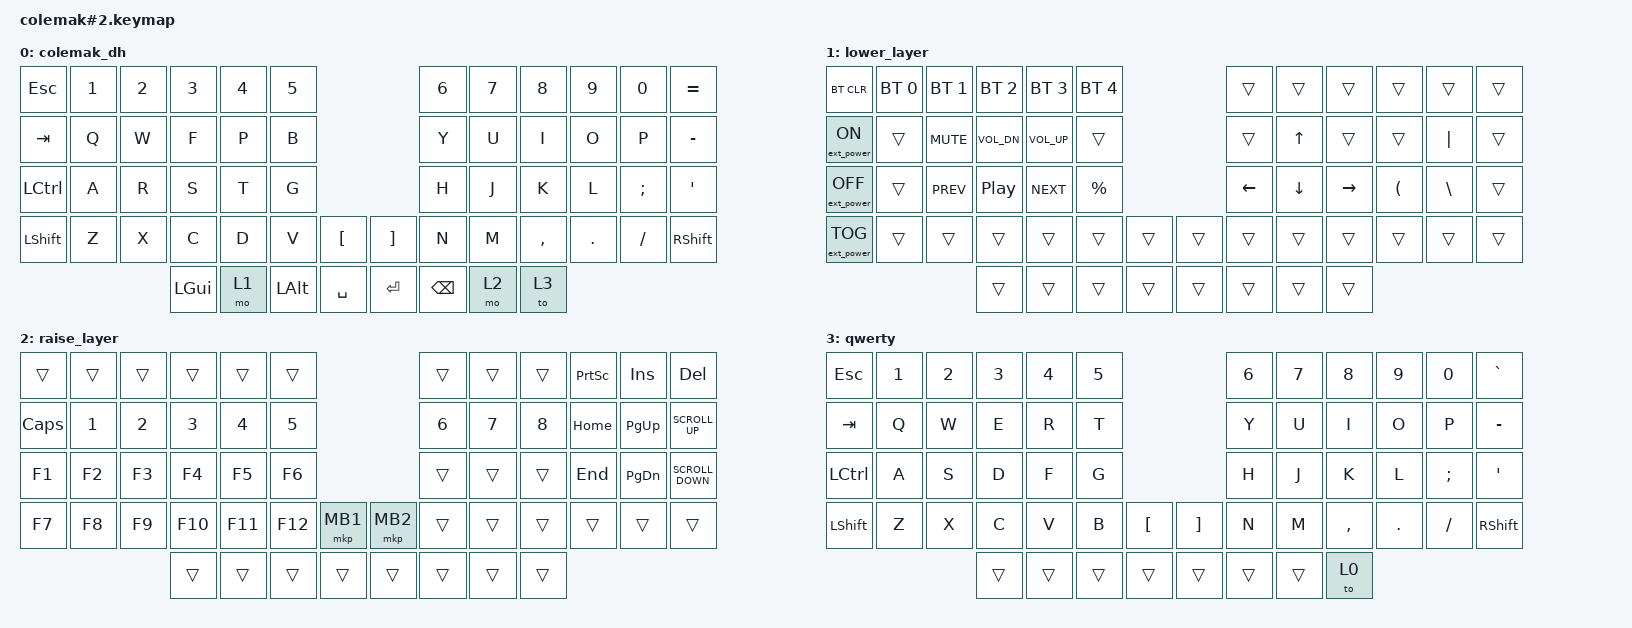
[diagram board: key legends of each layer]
/*
 * Copyright (c) 2020 The ZMK Contributors
 *
 * SPDX-License-Identifier: MIT
 */

#include <behaviors.dtsi>
#include <dt-bindings/zmk/keys.h>
#include <dt-bindings/zmk/bt.h>
#include <dt-bindings/zmk/ext_power.h>
#include <dt-bindings/zmk/mouse.h>
// Home row mods macros
#define COLEMAK_DH  0
#define LOWER       1
#define RAISE       2
#define QWERTY      3

/ {
    keymap {
        compatible = "zmk,keymap";

        colemak_dh {
// COLEMAK-DH LAYOUT
// ------------------------------------------------------------------------------------------------------------
// |  ESC  |  1  |  2  |  3   |  4   |  5   |                   |  6   |  7    |  8    |  9   |   0   |   =   |
// |  TAB  |  Q  |  W  |  F   |  P   |  B   |                   |  J   |  L    |  U    |  Y   |   ;   |   -   |
// |  CTRL |  A  |  R  |  S   |  T   |  G   |                   |  M   |  N    |  E    |  I   |   O   |   '   |
// | SHIFT |  Z  |  X  |  C   |  D   |  V   |   "["  |  |  "]"  |  K   |  H    |  ,    |  .   |   /   | SHIFT |
//                     | GUI  |LW_LAY| ALT  |  SPACE |  | ENTER | BSPC |RS_LAY |QWERTY |
            bindings = <
&kp ESC   &kp N1 &kp N2 &kp N3   &kp N4 &kp N5                       &kp N6   &kp N7    &kp N8    &kp N9  &kp N0   &kp EQUAL
&kp TAB   &kp Q  &kp W  &kp F    &kp P  &kp B                        &kp Y    &kp U     &kp I     &kp O   &kp P    &kp MINUS
&kp LCTRL &kp A  &kp R  &kp S    &kp T  &kp G                        &kp H    &kp J     &kp K     &kp L   &kp SEMI &kp SQT
&kp LSHFT &kp Z  &kp X  &kp C    &kp D  &kp V    &kp LBKT   &kp RBKT &kp N    &kp M     &kp COMMA &kp DOT &kp FSLH &kp RSHFT
                        &kp LGUI &mo 1  &kp LALT &kp SPACE  &kp RET  &kp BSPC &mo 2     &to 3
            >;

            // sensor-bindings = <&inc_dec_kp C_VOL_UP C_VOL_DN>;
        };

        lower_layer {
// ------------------------------------------------------------------------------------------------------------
// | BTCLR | BT1 | BT2 |  BT3 |  BT4 |  BT5 |                   |      |       |       |      |       |       |
// | EP_ON |     | MUTE| VOL- | VOL+ |      |                   |      |  UP   |       |      |  "|"  |       |
// |EP_OFF |     | PRV |PLY/PS| NEXT |      |                   | LEFT | DOWN  | RIGHT |      |   \   |       |
// |EP_TOG |     |     |      |      |      |        |  |       |      |       |       |      |       |       |
//                     |      |      |      |        |  |       |      |       |       |
            bindings = <
&bt BT_CLR          &bt BT_SEL 0 &bt BT_SEL 1   &bt BT_SEL 2    &bt BT_SEL 3 &bt BT_SEL 4                 &trans    &trans    &trans    &trans    &trans    &trans
&ext_power EP_ON    &trans       &kp C_MUTE     &kp C_VOL_DN    &kp C_VOL_UP &trans                       &trans    &kp UP    &trans    &trans    &kp PIPE  &trans
&ext_power EP_OFF   &trans       &kp C_PREV     &kp C_PP        &kp C_NEXT   &kp PRCNT                    &kp LEFT  &kp DOWN  &kp RIGHT &kp LPAR  &kp BSLH  &trans
&ext_power EP_TOG   &trans       &trans         &trans          &trans       &trans    &trans   &trans    &trans    &trans    &trans    &trans    &trans    &trans
                                                &trans          &trans       &trans    &trans   &trans    &trans    &trans    &trans
            >;

            // sensor-bindings = <&inc_dec_kp C_VOL_UP C_VOL_DN>;
        };

        raise_layer {
// ------------------------------------------------------------------------------------------------------------
// |       |     |     |      |      |      |                   |      |       |       |PRTSCRN| INS   |  DEL  |
// | CAPS  |     |     |      |      |      |                   |      |       |       | HOME  | PGUP  | SCR_UP|
// |   F1  |  F2 |  F3 |  F4  |  F5  |  F6  |                   |      |       |       | END   | PGDN  | SCR_DN|
// |   F7  |  F8 |  F9 |  F10 |  F11 |  F12 | LCLK   |  | RCLK  |      |       |       |       |       |       |
//                     |      |      |      |        |  |       |      |       |       |
            bindings = <
&trans    &trans &trans &trans  &trans  &trans                       &trans      &trans    &trans    &kp PSCRN  &kp INS   &kp DEL
&kp CAPS  &kp N1 &kp N2 &kp N3  &kp N4  &kp N5                       &kp N6      &kp N7    &kp N8    &kp HOME   &kp PG_UP &kp K_SCROLL_UP
&kp F1    &kp F2 &kp F3 &kp F4  &kp F5  &kp F6                       &trans      &trans    &trans    &kp END    &kp PG_DN &kp K_SCROLL_DOWN
&kp F7    &kp F8 &kp F9 &kp F10 &kp F11 &kp F12   &mkp MB1  &mkp MB2 &trans      &trans    &trans    &trans     &trans    &trans
                        &trans  &trans  &trans    &trans    &trans   &trans      &trans    &trans
            >;

            // sensor-bindings = <&inc_dec_kp C_VOL_UP C_VOL_DN>;
        };

        qwerty {
// ------------------------------------------------------------------------------------------------------------
// |  ESC  |  1  |  2  |  3   |  4   |  5   |                   |  6   |  7    |  8    |  9   |   0   |   `   |
// |  TAB  |  Q  |  W  |  E   |  R   |  T   |                   |  Y   |  U    |  I    |  O   |   P   |   -   |
// |  CTRL |  A  |  S  |  D   |  F   |  G   |                   |  H   |  J    |  K    |  L   |   ;   |   '   |
// | SHIFT |  Z  |  X  |  C   |  V   |  B   |   "["  |  |  "]"  |  N   |  M    |  ,    |  .   |   /   | SHIFT |
//                     | ALT  | GUI  | LOWER|  SPACE |  | ENTER | RAISE| BSPC  | GUI   |
            bindings = <
&kp ESC   &kp N1 &kp N2 &kp N3   &kp N4   &kp N5                     &kp N6 &kp N7   &kp N8    &kp N9  &kp N0   &kp GRAVE
&kp TAB   &kp Q  &kp W  &kp E    &kp R    &kp T                      &kp Y  &kp U    &kp I     &kp O   &kp P    &kp MINUS
&kp LCTRL &kp A  &kp S  &kp D    &kp F    &kp G                      &kp H  &kp J    &kp K     &kp L   &kp SEMI &kp SQT
&kp LSHFT &kp Z  &kp X  &kp C    &kp V    &kp B  &kp LBKT   &kp RBKT &kp N  &kp M    &kp COMMA &kp DOT &kp FSLH &kp RSHFT
                        &trans   &trans   &trans &trans     &trans   &trans &trans   &to 0
            >;

            // sensor-bindings = <&inc_dec_kp C_VOL_UP C_VOL_DN>;
        };
    };
};
